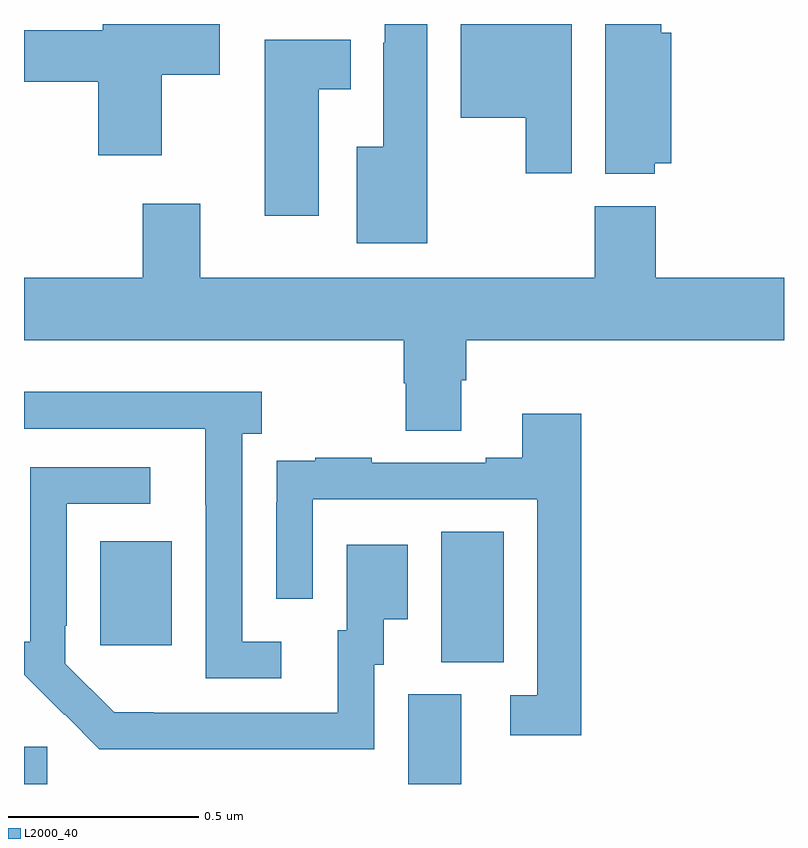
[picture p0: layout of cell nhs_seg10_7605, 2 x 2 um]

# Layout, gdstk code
import gdstk
lib = gdstk.Library(unit=1e-6, precision=1e-09)
def R(c, l, rs):  # rectangles x0, y0, x1, y1
    for r in rs: c.add(gdstk.rectangle(r[:2], r[2:], *l))
def P(c, l, *ps):  # polygons
    for p in ps: c.add(gdstk.Polygon(p, *l))
L2000_40 = (2000, 40)

nhs_seg10_7605 = lib.new_cell('nhs_seg10_7605')
R(nhs_seg10_7605, L2000_40, [(206,1280.5,206.061,1280.598), (207.011,1280.5,207.151,1280.736), (207.098,1280.821,207.262,1281.164), (206.201,1280.865,206.389,1281.139)])
P(nhs_seg10_7605, L2000_40, [(207.061,1282.5),(206.949,1282.5),(206.949,1282.451),(206.945,1282.451),(206.945,1282.177),(206.876,1282.177),(206.876,1281.923),(207.061,1281.923)],
  [(207.66,1282.133),(207.703,1282.133),(207.703,1282.477),(207.677,1282.477),(207.677,1282.5),(207.53,1282.5),(207.53,1282.106),(207.66,1282.106)],
  [(206.362,1282.366),(206.515,1282.366),(206.515,1282.5),(206.207,1282.5),(206.207,1282.484),(206,1282.484),(206,1282.348),(206.195,1282.348),(206.195,1282.155),(206.362,1282.155)],
  [(207.442,1282.5),(207.149,1282.5),(207.149,1282.253),(207.32,1282.253),(207.32,1282.107),(207.442,1282.107)],
  [(206.776,1282.328),(206.86,1282.328),(206.86,1282.459),(206.633,1282.459),(206.633,1281.996),(206.776,1281.996)],
  [(207.151,1281.562),(207.164,1281.562),(207.164,1281.668),(208,1281.668),(208,1281.832),(207.662,1281.832),(207.662,1282.021),(207.502,1282.021),(207.502,1281.832),(206.464,1281.832),(206.464,1282.027),(206.312,1282.027),(206.312,1281.832),(206,1281.832),(206,1281.668),(206.999,1281.668),(206.999,1281.555),(207.004,1281.555),(207.004,1281.43),(207.151,1281.43)],
  [(206.677,1280.874),(206.574,1280.874),(206.574,1281.422),(206.626,1281.422),(206.626,1281.532),(206,1281.532),(206,1281.435),(206.477,1281.435),(206.477,1281.235),(206.478,1281.235),(206.478,1280.778),(206.677,1280.778)],
  [(207.467,1281.475),(207.311,1281.475),(207.311,1281.358),(207.215,1281.358),(207.215,1281.345),(206.915,1281.345),(206.915,1281.358),(206.767,1281.358),(206.767,1281.351),(206.665,1281.351),(206.665,1281.242),(206.664,1281.242),(206.664,1280.988),(206.76,1280.988),(206.76,1281.249),(207.351,1281.249),(207.351,1280.733),(207.279,1280.733),(207.279,1280.628),(207.467,1280.628)],
  [(206.922,1280.814),(206.947,1280.814),(206.947,1280.933),(207.01,1280.933),(207.01,1281.13),(206.849,1281.13),(206.849,1280.904),(206.825,1280.904),(206.825,1280.688),(206.341,1280.688),(206.341,1280.689),(206.238,1280.689),(206.109,1280.817),(206.109,1280.917),(206.112,1280.917),(206.112,1281.237),(206.332,1281.237),(206.332,1281.333),(206.016,1281.333),(206.016,1280.875),(206.001,1280.875),(206.001,1280.787),(206.106,1280.682),(206.107,1280.683),(206.198,1280.592),(206.922,1280.592)])

lib.write_gds('nhs_seg10_7605.gds')
